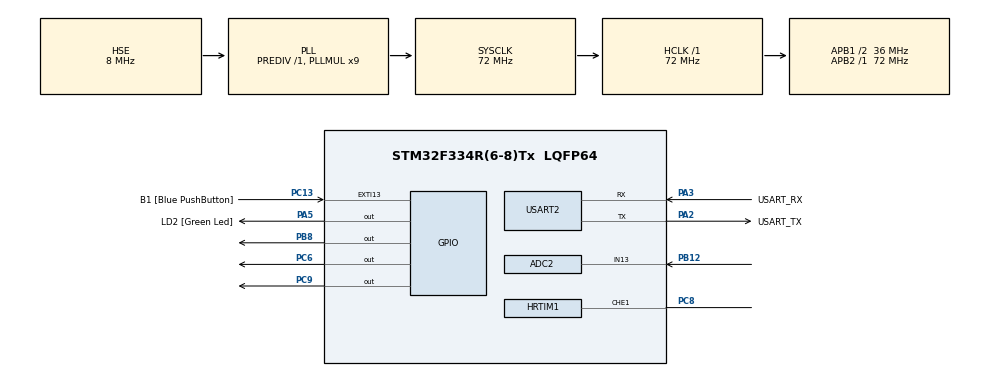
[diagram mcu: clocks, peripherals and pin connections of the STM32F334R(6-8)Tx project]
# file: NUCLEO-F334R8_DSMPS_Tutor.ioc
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Mcu.Family=STM32F3
HRTIM1.NumberSetSource1-Output_TE1=1
NVIC.ADC1_2_IRQn=true\:0\:0\:false\:false\:true\:true\:true
RCC.CortexFreq_Value=72000000
HRTIM1.NumberInterruptRequests-Output_TE1=0
PF0\ /\ OSC_IN.Mode=HSE-External-Clock-Source
ADC2.InjectedConvMode=None
PA14.GPIO_Label=TCK
RCC.SYSCLKSourceVirtual=RCC_SYSCLKSOURCE_PLLCLK
ADC2.InjectedOffset-1\#ChannelInjectedConversion=0
HRTIM1.CompareValue3-Output_TE1=46080/2
PC13.GPIO_Label=B1 [Blue PushButton]
HRTIM1.InterruptRequests1-Output_TE1=HRTIM_TIM_IT_REP
ProjectManager.StackSize=0x400
HRTIM1.CompareUnit4-Output_TE1=HRTIM_COMPAREUNIT_4
RCC.HCLKFreq_Value=72000000
RCC.APB2TimFreq_Value=72000000
HRTIM1.CompareUnit3-Output_TE1=HRTIM_COMPAREUNIT_3
ADC2.InjectedRank-1\#ChannelInjectedConversion=1
ADC2.EOCSelection=ADC_EOC_SINGLE_CONV
HRTIM1.CompareUnit2-Output_TE1=__NULL
RCC.AHBFreq_Value=72000000
HRTIM1.NumberResetSource1-Output_TE1=2
RCC.HSE_VALUE=8000000
PB3.Mode=Trace_Asynchronous_SW
USART2.VirtualMode-Asynchronous=VM_ASYNC
RCC.PLLMUL=RCC_PLL_MUL9
PC14\ /\ OSC32_IN.Mode=LSE-External-Oscillator
PA14.Mode=Trace_Asynchronous_SW
PC14\ /\ OSC32_IN.Signal=RCC_OSC32_IN
PC15\ /\ OSC32_OUT.Signal=RCC_OSC32_OUT
HRTIM1.CompareValue4-Output_TE1=46080 - 1000/2
HRTIM1.ResetOutput1_Source1-Output_TE1=HRTIM_OUTPUTRESET_TIMCMP1
RCC.FLatency-AdvancedSettings=FLASH_LATENCY_2
ADC2.InjectedSamplingTime-1\#ChannelInjectedConversion=ADC_SAMPLETIME_61CYCLES_5
Mcu.Package=LQFP64
PB12.Mode=IN13-Single-Ended
PA2.GPIO_Label=USART_TX
PC15\ /\ OSC32_OUT.Mode=LSE-External-Oscillator
HRTIM1.ADCTrigger1_Source1=HRTIM_ADCTRIGGEREVENT13_TIMERE_CMP4
HRTIM1.NumberADCTriggerSource2=1
HRTIM1.NumberADCTriggerSource1=1
ADC2.SubFamily=STM32F334x8
RCC.APB1TimFreq_Value=72000000
ADC2.Rank1_Channel=ADC_CHANNEL_13
PA3.Signal=USART2_RX
PB3.GPIO_Label=SWO
ADC2.ClockPrescaler=ADC_CLOCK_ASYNC_DIV1
RCC.PLLSourceVirtual=RCC_PLLSOURCE_HSE
ADC2.ExternalTrigInjecConv=ADC_EXTERNALTRIGINJECCONV_HRTIM_TRG2
HRTIM1.ADCTrigger2_Source1=HRTIM_ADCTRIGGEREVENT24_TIMERE_CMP4
PC13.Signal=GPXTI13
PC8.Signal=HRTIM1_CHE1
PC6.Signal=GPIO_Output
ADC2.InjectedOffsetNumber-1\#ChannelInjectedConversion=ADC_OFFSET_NONE
ADC2.EnableRegularConversion=DISABLE
RCC.APB1CLKDivider=RCC_HCLK_DIV2
HRTIM1.ResetOutput1_Source2-Output_TE1=HRTIM_OUTPUTRESET_TIMCMP3
ADC2.InjectedSamplingTimeOPAMP-1\#ChannelInjectedConversion=ADC_SAMPLETIME_61CYCLES_5
HRTIM1.CompareUnit1-Output_TE1=HRTIM_COMPAREUNIT_1
PA13.Signal=SYS_JTMS-SWDIO
PA3.Mode=Asynchronous
ADC2.ContinuousConvMode=DISABLE
ProjectManager.TargetToolchain=STM32CubeIDE
PF1\ /\ OSC_OUT.Signal=RCC_OSC_OUT
PC6.PinState=GPIO_PIN_SET
PA5.Signal=GPIO_Output
HRTIM1.ADCTrigger_Id2=HRTIM_ADCTRIGGER_2
HRTIM1.ADCTrigger_Id1=__NULL
board=NUCLEO-F334R8
RCC.APB2Freq_Value=72000000
PF0\ /\ OSC_IN.Signal=RCC_OSC_IN
HRTIM1.CompareValue1-Output_TE1=46080 - 1000
PC15\ /\ OSC32_OUT.GPIO_Label=RCC_OSC32_OUT
PA13.Mode=Trace_Asynchronous_SW
Mcu.Name=STM32F334R(6-8)Tx
HRTIM1.SetOutput1_Source1-Output_TE1=HRTIM_OUTPUTSET_TIMPER
PA13.GPIO_Label=TMS
PA2.Signal=USART2_TX
PC8.Mode=Output_TE1
PC8.GPIO_Speed_High_Default=GPIO_SPEED_FREQ_LOW
PB3.Signal=SYS_JTDO-TRACESWO
RCC.SYSCLKFreq_VALUE=72000000
PA5.GPIO_Label=LD2 [Green Led]
PC13.GPIO_ModeDefaultEXTI=GPIO_MODE_IT_FALLING
ADC2.QueueInjectedContext=DISABLE
PA14.Signal=SYS_JTCK-SWCLK
ProjectManager.HeapSize=0x200
ADC2.InjectedChannel-1\#ChannelInjectedConversion=ADC_CHANNEL_13
RCC.HSI_VALUE=8000000
NVIC.PriorityGroup=NVIC_PRIORITYGROUP_0
RCC.HRTIMSelection=RCC_HRTIM1CLK_PLLCLK
PA2.Mode=Asynchronous
PB8.Signal=GPIO_Output
PC9.Signal=GPIO_Output
HRTIM1.Configuration_TE=Waveform
RCC.APB1Freq_Value=36000000
ADC2.InjNumberOfConversion=1
PB12.Signal=ADC2_IN13
HRTIM1.Periode_TE=46080
PA3.GPIO_Label=USART_RX

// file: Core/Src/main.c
/* USER CODE BEGIN Header */
/**
  ******************************************************************************
  * @file           : main.c
  * @brief          : Main program body
  ******************************************************************************
  * @attention
  *
  * <h2><center>&copy; Copyright (c) 2021 STMicroelectronics.
  * All rights reserved.</center></h2>
  *
  * This software component is licensed by ST under BSD 3-Clause license,
  * the "License"; You may not use this file except in compliance with the
  * License. You may obtain a copy of the License at:
  *                        opensource.org/licenses/BSD-3-Clause
  *
  ******************************************************************************
  */
/* USER CODE END Header */
#include "main.h"

ADC_HandleTypeDef hadc2;

HRTIM_HandleTypeDef hhrtim1;

UART_HandleTypeDef huart2;

/* USER CODE BEGIN PV */

volatile uint16_t VoutMeasured, VoutTarget = 1000;
volatile int32_t Verror;

volatile int32_t seterr, pid_out, pid_out_last, pid_out_diff;
volatile int32_t error, errorProp;
volatile int32_t last_error;
volatile int32_t errorSum;
volatile int32_t errorRate;

/* Set Proportional and Integral constant terms*/
static uint16_t Kp = 10;
static uint16_t Ki = 100;
static uint16_t Kd = 100;

static int32_t Int_term_Buck;

volatile int32_t error, errorProp, errorIntgr, errorDiff;

/* USER CODE END PV */

void SystemClock_Config(void);
static void MX_GPIO_Init(void);
static void MX_USART2_UART_Init(void);
static void MX_HRTIM1_Init(void);
static void MX_ADC2_Init(void);

int main(void)
{

  /* MCU Configuration--------------------------------------------------------*/

  /* Reset of all peripherals, Initializes the Flash interface and the Systick. */
  HAL_Init();

  /* Configure the system clock */
  SystemClock_Config();

  /* Initialize all configured peripherals */
  MX_GPIO_Init();
  MX_USART2_UART_Init();
  MX_HRTIM1_Init();
  MX_ADC2_Init();
  /* USER CODE BEGIN 2 */

  HAL_HRTIM_WaveformOutputStart(&hhrtim1, HRTIM_OUTPUT_TE1);
  HAL_HRTIM_WaveformCounterStart(&hhrtim1, HRTIM_TIMERID_TIMER_E);

  /* Run the ADC calibration in single-ended mode */
  HAL_ADCEx_Calibration_Start(&hadc2, ADC_SINGLE_ENDED);

  /* Start ADC1 Injected Conversions with Interrupt*/
  HAL_ADCEx_InjectedStart_IT(&hadc2);

  /* USER CODE END 2 */

  /* Infinite loop */
  /* USER CODE BEGIN WHILE */
  while (1)
  {

	  /*
	   * HAL and LL library
	   */

	  // HAL = 705 kHz
//	  HAL_GPIO_TogglePin(GPIOC, GPIO_PIN_9);

	  // HAL = 878 KHz
//	  HAL_GPIO_WritePin(GPIOC, GPIO_PIN_9, GPIO_PIN_SET);
//	  HAL_GPIO_WritePin(GPIOC, GPIO_PIN_9, GPIO_PIN_RESET);

	  // LL = 720 kHz
//	  LL_GPIO_TogglePin(GPIOC, GPIO_PIN_9);

	  // LL = 1.1059MHz
//	  LL_GPIO_SetOutputPin(GPIOC, LL_GPIO_PIN_9);
//	  LL_GPIO_ResetOutputPin(GPIOC, LL_GPIO_PIN_9);

	  /*
	   *  Register level access
	   */

	  // LL  = 2.77Mhz
	  // HAL = 3.00Mhz
//	  GPIOC->BSRR = (1 << 9); // Set
//	  GPIOC->BSRR = (1 << 25); // Reset

	  // HAL = 3.00Mhz
	  // LL  = 2.77Mhz
//	  GPIOC->BSRR = (1 << 9); // Set
//	  GPIOC->BRR = (1 << 9); // Reset

    /* USER CODE END WHILE */

  }
}

void SystemClock_Config(void)
{
  RCC_OscInitTypeDef RCC_OscInitStruct = {0};
  RCC_ClkInitTypeDef RCC_ClkInitStruct = {0};
  RCC_PeriphCLKInitTypeDef PeriphClkInit = {0};

  /** Initializes the RCC Oscillators according to the specified parameters
  * in the RCC_OscInitTypeDef structure.
  */
  RCC_OscInitStruct.OscillatorType = RCC_OSCILLATORTYPE_HSE;
  RCC_OscInitStruct.HSEState = RCC_HSE_BYPASS;
  RCC_OscInitStruct.HSEPredivValue = RCC_HSE_PREDIV_DIV1;
  RCC_OscInitStruct.HSIState = RCC_HSI_ON;
  RCC_OscInitStruct.PLL.PLLState = RCC_PLL_ON;
  RCC_OscInitStruct.PLL.PLLSource = RCC_PLLSOURCE_HSE;
  RCC_OscInitStruct.PLL.PLLMUL = RCC_PLL_MUL9;
  if (HAL_RCC_OscConfig(&RCC_OscInitStruct) != HAL_OK)
  {
    Error_Handler();
  }
  /** Initializes the CPU, AHB and APB buses clocks
  */
  RCC_ClkInitStruct.ClockType = RCC_CLOCKTYPE_HCLK|RCC_CLOCKTYPE_SYSCLK
                              |RCC_CLOCKTYPE_PCLK1|RCC_CLOCKTYPE_PCLK2;
  RCC_ClkInitStruct.SYSCLKSource = RCC_SYSCLKSOURCE_PLLCLK;
  RCC_ClkInitStruct.AHBCLKDivider = RCC_SYSCLK_DIV1;
  RCC_ClkInitStruct.APB1CLKDivider = RCC_HCLK_DIV2;
  RCC_ClkInitStruct.APB2CLKDivider = RCC_HCLK_DIV1;

  if (HAL_RCC_ClockConfig(&RCC_ClkInitStruct, FLASH_LATENCY_2) != HAL_OK)
  {
    Error_Handler();
  }
  PeriphClkInit.PeriphClockSelection = RCC_PERIPHCLK_HRTIM1|RCC_PERIPHCLK_ADC12;
  PeriphClkInit.Adc12ClockSelection = RCC_ADC12PLLCLK_DIV1;
  PeriphClkInit.Hrtim1ClockSelection = RCC_HRTIM1CLK_PLLCLK;
  if (HAL_RCCEx_PeriphCLKConfig(&PeriphClkInit) != HAL_OK)
  {
    Error_Handler();
  }
}

static void MX_ADC2_Init(void)
{

  ADC_InjectionConfTypeDef sConfigInjected = {0};

  /** Common config
  */
  hadc2.Instance = ADC2;
  hadc2.Init.ClockPrescaler = ADC_CLOCK_ASYNC_DIV1;
  hadc2.Init.Resolution = ADC_RESOLUTION_12B;
  hadc2.Init.ScanConvMode = ADC_SCAN_DISABLE;
  hadc2.Init.ContinuousConvMode = DISABLE;
  hadc2.Init.DiscontinuousConvMode = DISABLE;
  hadc2.Init.DataAlign = ADC_DATAALIGN_RIGHT;
  hadc2.Init.NbrOfConversion = 1;
  hadc2.Init.DMAContinuousRequests = DISABLE;
  hadc2.Init.EOCSelection = ADC_EOC_SINGLE_CONV;
  hadc2.Init.LowPowerAutoWait = DISABLE;
  hadc2.Init.Overrun = ADC_OVR_DATA_OVERWRITTEN;
  if (HAL_ADC_Init(&hadc2) != HAL_OK)
  {
    Error_Handler();
  }
  /** Configure Injected Channel
  */
  sConfigInjected.InjectedChannel = ADC_CHANNEL_13;
  sConfigInjected.InjectedRank = ADC_INJECTED_RANK_1;
  sConfigInjected.InjectedSingleDiff = ADC_SINGLE_ENDED;
  sConfigInjected.InjectedNbrOfConversion = 1;
  sConfigInjected.InjectedSamplingTime = ADC_SAMPLETIME_61CYCLES_5;
  sConfigInjected.ExternalTrigInjecConvEdge = ADC_EXTERNALTRIGINJECCONV_EDGE_RISING;
  sConfigInjected.ExternalTrigInjecConv = ADC_EXTERNALTRIGINJECCONV_HRTIM_TRG2;
  sConfigInjected.AutoInjectedConv = DISABLE;
  sConfigInjected.InjectedDiscontinuousConvMode = DISABLE;
  sConfigInjected.QueueInjectedContext = DISABLE;
  sConfigInjected.InjectedOffset = 0;
  sConfigInjected.InjectedOffsetNumber = ADC_OFFSET_NONE;
  if (HAL_ADCEx_InjectedConfigChannel(&hadc2, &sConfigInjected) != HAL_OK)
  {
    Error_Handler();
  }

}

static void MX_HRTIM1_Init(void)
{

  HRTIM_ADCTriggerCfgTypeDef pADCTriggerCfg = {0};
  HRTIM_TimeBaseCfgTypeDef pTimeBaseCfg = {0};
  HRTIM_TimerCfgTypeDef pTimerCfg = {0};
  HRTIM_CompareCfgTypeDef pCompareCfg = {0};
  HRTIM_OutputCfgTypeDef pOutputCfg = {0};

  hhrtim1.Instance = HRTIM1;
  hhrtim1.Init.HRTIMInterruptResquests = HRTIM_IT_NONE;
  hhrtim1.Init.SyncOptions = HRTIM_SYNCOPTION_NONE;
  if (HAL_HRTIM_Init(&hhrtim1) != HAL_OK)
  {
    Error_Handler();
  }
  if (HAL_HRTIM_DLLCalibrationStart(&hhrtim1, HRTIM_CALIBRATIONRATE_14) != HAL_OK)
  {
    Error_Handler();
  }
  if (HAL_HRTIM_PollForDLLCalibration(&hhrtim1, 10) != HAL_OK)
  {
    Error_Handler();
  }
  pADCTriggerCfg.UpdateSource = HRTIM_ADCTRIGGERUPDATE_TIMER_E;
  pADCTriggerCfg.Trigger = HRTIM_ADCTRIGGEREVENT24_TIMERE_CMP4;
  if (HAL_HRTIM_ADCTriggerConfig(&hhrtim1, HRTIM_ADCTRIGGER_2, &pADCTriggerCfg) != HAL_OK)
  {
    Error_Handler();
  }
  pTimeBaseCfg.Period = 46080;
  pTimeBaseCfg.RepetitionCounter = 0x00;
  pTimeBaseCfg.PrescalerRatio = HRTIM_PRESCALERRATIO_MUL32;
  pTimeBaseCfg.Mode = HRTIM_MODE_CONTINUOUS;
  if (HAL_HRTIM_TimeBaseConfig(&hhrtim1, HRTIM_TIMERINDEX_TIMER_E, &pTimeBaseCfg) != HAL_OK)
  {
    Error_Handler();
  }
  pTimerCfg.InterruptRequests = HRTIM_MASTER_IT_NONE;
  pTimerCfg.DMARequests = HRTIM_TIM_DMA_NONE;
  pTimerCfg.DMASrcAddress = 0x0000;
  pTimerCfg.DMADstAddress = 0x0000;
  pTimerCfg.DMASize = 0x1;
  pTimerCfg.HalfModeEnable = HRTIM_HALFMODE_DISABLED;
  pTimerCfg.StartOnSync = HRTIM_SYNCSTART_DISABLED;
  pTimerCfg.ResetOnSync = HRTIM_SYNCRESET_DISABLED;
  pTimerCfg.DACSynchro = HRTIM_DACSYNC_NONE;
  pTimerCfg.PreloadEnable = HRTIM_PRELOAD_DISABLED;
  pTimerCfg.UpdateGating = HRTIM_UPDATEGATING_INDEPENDENT;
  pTimerCfg.BurstMode = HRTIM_TIMERBURSTMODE_MAINTAINCLOCK;
  pTimerCfg.RepetitionUpdate = HRTIM_UPDATEONREPETITION_DISABLED;
  pTimerCfg.PushPull = HRTIM_TIMPUSHPULLMODE_DISABLED;
  pTimerCfg.FaultEnable = HRTIM_TIMFAULTENABLE_NONE;
  pTimerCfg.FaultLock = HRTIM_TIMFAULTLOCK_READWRITE;
  pTimerCfg.DeadTimeInsertion = HRTIM_TIMDEADTIMEINSERTION_DISABLED;
  pTimerCfg.DelayedProtectionMode = HRTIM_TIMER_D_E_DELAYEDPROTECTION_DISABLED;
  pTimerCfg.UpdateTrigger = HRTIM_TIMUPDATETRIGGER_NONE;
  pTimerCfg.ResetTrigger = HRTIM_TIMRESETTRIGGER_NONE;
  pTimerCfg.ResetUpdate = HRTIM_TIMUPDATEONRESET_DISABLED;
  if (HAL_HRTIM_WaveformTimerConfig(&hhrtim1, HRTIM_TIMERINDEX_TIMER_E, &pTimerCfg) != HAL_OK)
  {
    Error_Handler();
  }
  pCompareCfg.CompareValue = 46080 - 1000;
  if (HAL_HRTIM_WaveformCompareConfig(&hhrtim1, HRTIM_TIMERINDEX_TIMER_E, HRTIM_COMPAREUNIT_1, &pCompareCfg) != HAL_OK)
  {
    Error_Handler();
  }
  pCompareCfg.CompareValue = 46080/2;
  if (HAL_HRTIM_WaveformCompareConfig(&hhrtim1, HRTIM_TIMERINDEX_TIMER_E, HRTIM_COMPAREUNIT_3, &pCompareCfg) != HAL_OK)
  {
    Error_Handler();
  }
  pCompareCfg.CompareValue = 46080 - 1000/2;
  pCompareCfg.AutoDelayedMode = HRTIM_AUTODELAYEDMODE_REGULAR;
  pCompareCfg.AutoDelayedTimeout = 0x0000;

  if (HAL_HRTIM_WaveformCompareConfig(&hhrtim1, HRTIM_TIMERINDEX_TIMER_E, HRTIM_COMPAREUNIT_4, &pCompareCfg) != HAL_OK)
  {
    Error_Handler();
  }
  pOutputCfg.Polarity = HRTIM_OUTPUTPOLARITY_HIGH;
  pOutputCfg.SetSource = HRTIM_OUTPUTSET_TIMPER;
  pOutputCfg.ResetSource = HRTIM_OUTPUTRESET_TIMCMP1|HRTIM_OUTPUTRESET_TIMCMP3;
  pOutputCfg.IdleMode = HRTIM_OUTPUTIDLEMODE_NONE;
  pOutputCfg.IdleLevel = HRTIM_OUTPUTIDLELEVEL_INACTIVE;
  pOutputCfg.FaultLevel = HRTIM_OUTPUTFAULTLEVEL_NONE;
  pOutputCfg.ChopperModeEnable = HRTIM_OUTPUTCHOPPERMODE_DISABLED;
  pOutputCfg.BurstModeEntryDelayed = HRTIM_OUTPUTBURSTMODEENTRY_REGULAR;
  if (HAL_HRTIM_WaveformOutputConfig(&hhrtim1, HRTIM_TIMERINDEX_TIMER_E, HRTIM_OUTPUT_TE1, &pOutputCfg) != HAL_OK)
  {
    Error_Handler();
  }
  HAL_HRTIM_MspPostInit(&hhrtim1);

}

static void MX_USART2_UART_Init(void)
{

  huart2.Instance = USART2;
  huart2.Init.BaudRate = 38400;
  huart2.Init.WordLength = UART_WORDLENGTH_8B;
  huart2.Init.StopBits = UART_STOPBITS_1;
  huart2.Init.Parity = UART_PARITY_NONE;
  huart2.Init.Mode = UART_MODE_TX_RX;
  huart2.Init.HwFlowCtl = UART_HWCONTROL_NONE;
  huart2.Init.OverSampling = UART_OVERSAMPLING_16;
  huart2.Init.OneBitSampling = UART_ONE_BIT_SAMPLE_DISABLE;
  huart2.AdvancedInit.AdvFeatureInit = UART_ADVFEATURE_NO_INIT;
  if (HAL_UART_Init(&huart2) != HAL_OK)
  {
    Error_Handler();
  }

}

static void MX_GPIO_Init(void)
{
  GPIO_InitTypeDef GPIO_InitStruct = {0};

  /* GPIO Ports Clock Enable */
  __HAL_RCC_GPIOC_CLK_ENABLE();
  __HAL_RCC_GPIOF_CLK_ENABLE();
  __HAL_RCC_GPIOA_CLK_ENABLE();
  __HAL_RCC_GPIOB_CLK_ENABLE();

  /*Configure GPIO pin Output Level */
  HAL_GPIO_WritePin(LD2_GPIO_Port, LD2_Pin, GPIO_PIN_RESET);

  /*Configure GPIO pin Output Level */
  HAL_GPIO_WritePin(GPIOC, GPIO_PIN_6, GPIO_PIN_SET);

  /*Configure GPIO pin Output Level */
  HAL_GPIO_WritePin(GPIOC, GPIO_PIN_9, GPIO_PIN_RESET);

  /*Configure GPIO pin Output Level */
  HAL_GPIO_WritePin(GPIOB, GPIO_PIN_8, GPIO_PIN_RESET);

  /*Configure GPIO pin : B1_Pin */
  GPIO_InitStruct.Pin = B1_Pin;
  GPIO_InitStruct.Mode = GPIO_MODE_IT_FALLING;
  GPIO_InitStruct.Pull = GPIO_NOPULL;
  HAL_GPIO_Init(B1_GPIO_Port, &GPIO_InitStruct);

  /*Configure GPIO pin : LD2_Pin */
  GPIO_InitStruct.Pin = LD2_Pin;
  GPIO_InitStruct.Mode = GPIO_MODE_OUTPUT_PP;
  GPIO_InitStruct.Pull = GPIO_NOPULL;
  GPIO_InitStruct.Speed = GPIO_SPEED_FREQ_LOW;
  HAL_GPIO_Init(LD2_GPIO_Port, &GPIO_InitStruct);

  /*Configure GPIO pins : PC6 PC9 */
  GPIO_InitStruct.Pin = GPIO_PIN_6|GPIO_PIN_9;
  GPIO_InitStruct.Mode = GPIO_MODE_OUTPUT_PP;
  GPIO_InitStruct.Pull = GPIO_NOPULL;
  GPIO_InitStruct.Speed = GPIO_SPEED_FREQ_LOW;
  HAL_GPIO_Init(GPIOC, &GPIO_InitStruct);

  /*Configure GPIO pin : PB8 */
  GPIO_InitStruct.Pin = GPIO_PIN_8;
  GPIO_InitStruct.Mode = GPIO_MODE_OUTPUT_PP;
  GPIO_InitStruct.Pull = GPIO_NOPULL;
  GPIO_InitStruct.Speed = GPIO_SPEED_FREQ_LOW;
  HAL_GPIO_Init(GPIOB, &GPIO_InitStruct);

}

/* USER CODE BEGIN 4 */

/**
  * @brief  Injected conversion complete callback in non blocking mode
  * @param  hadc ADC handle
  * @retval None
  */
void HAL_ADCEx_InjectedConvCpltCallback(ADC_HandleTypeDef* hadc)
{
  /* Prevent unused argument(s) compilation warning */
  UNUSED(hadc);

  /* NOTE : This function Should not be modified, when the callback is needed,
            the HAL_ADCEx_InjectedConvCpltCallback could be implemented in the user file
  */

  GPIOB->BSRR = (1 << 8); // Set

  VoutMeasured = HAL_ADCEx_InjectedGetValue(&hadc2, ADC_INJECTED_RANK_1);
  Verror =  (uint16_t ) VoutMeasured - (uint16_t) VoutTarget;

//	seterr = (-Kp * Verror) / 200;
//	Int_term_Buck = Int_term_Buck + ((-Ki * Verror) / 200);
//	pid_out = seterr + Int_term_Buck;
//
//	if (pid_out > 4800)
//		pid_out = 45000;
//	if (pid_out < 100)
//		pid_out = 100;

	errorProp = (Kp * Verror) >> 5;
	errorIntgr = errorIntgr + ((Ki * Verror) >> 4);
	errorDiff = Verror >> Kd;

	pid_out =   errorProp + errorIntgr + errorDiff;

  __HAL_HRTIM_SETCOMPARE(&hhrtim1, HRTIM_TIMERINDEX_TIMER_E, HRTIM_COMPAREUNIT_3, pid_out);

  GPIOB->BSRR = (1 << 24); // Reset

}

/* USER CODE END 4 */

void Error_Handler(void)
{
  __disable_irq();
  while (1)
  {
  }
}

/************************ (C) COPYRIGHT STMicroelectronics *****END OF FILE****/
